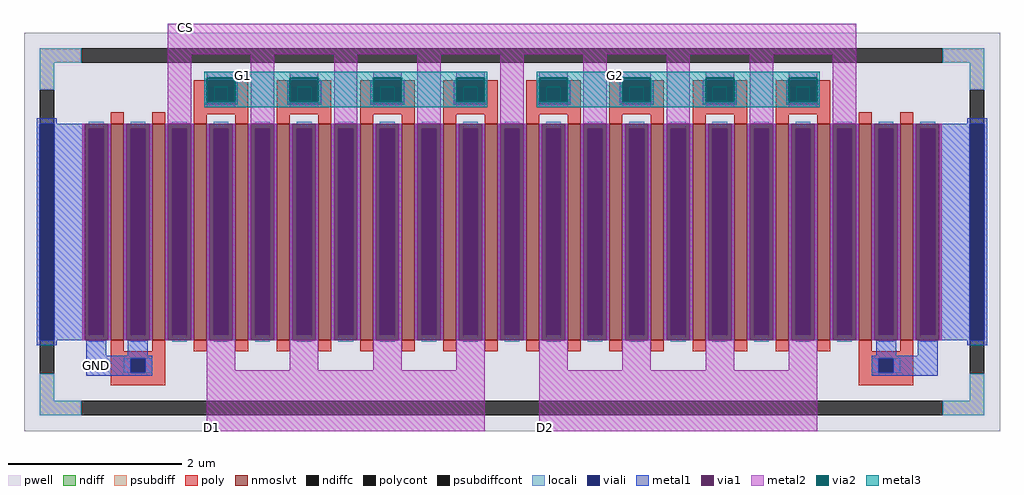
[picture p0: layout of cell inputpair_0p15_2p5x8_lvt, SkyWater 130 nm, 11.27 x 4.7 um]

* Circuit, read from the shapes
.subckt inputpair_0p15_2p5x8_lvt CS D1 D2 G1 G2 GND
XM1 GND GND GND GND sky130_fd_pr__nfet_01v8_lvt w=2.5 l=0.15 m=2
XM2 CS GND GND GND sky130_fd_pr__nfet_01v8_lvt w=2.5 l=0.15 m=2
XM3 D1 G1 CS GND sky130_fd_pr__nfet_01v8_lvt w=2.5 l=0.15 m=8
XM4 D2 G2 CS GND sky130_fd_pr__nfet_01v8_lvt w=2.5 l=0.15 m=8
.ends

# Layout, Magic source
magic
tech sky130A
<< pwell >>
rect -4007 2516 -2880 2976
<< nmoslvt >>
rect -3907 2621 -3892 2871
rect -3859 2621 -3844 2871
rect -3811 2621 -3796 2871
rect -3763 2621 -3748 2871
rect -3715 2621 -3700 2871
rect -3667 2621 -3652 2871
rect -3619 2621 -3604 2871
rect -3571 2621 -3556 2871
rect -3523 2621 -3508 2871
rect -3475 2621 -3460 2871
rect -3427 2621 -3412 2871
rect -3379 2621 -3364 2871
rect -3331 2621 -3316 2871
rect -3283 2621 -3268 2871
rect -3235 2621 -3220 2871
rect -3187 2621 -3172 2871
rect -3139 2621 -3124 2871
rect -3091 2621 -3076 2871
rect -3043 2621 -3028 2871
rect -2995 2621 -2980 2871
<< ndiff >>
rect -3938 2865 -3907 2871
rect -3938 2627 -3932 2865
rect -3915 2627 -3907 2865
rect -3938 2621 -3907 2627
rect -3892 2865 -3859 2871
rect -3892 2627 -3884 2865
rect -3867 2627 -3859 2865
rect -3892 2621 -3859 2627
rect -3844 2865 -3811 2871
rect -3844 2627 -3836 2865
rect -3819 2627 -3811 2865
rect -3844 2621 -3811 2627
rect -3796 2865 -3763 2871
rect -3796 2627 -3788 2865
rect -3771 2627 -3763 2865
rect -3796 2621 -3763 2627
rect -3748 2865 -3715 2871
rect -3748 2627 -3740 2865
rect -3723 2627 -3715 2865
rect -3748 2621 -3715 2627
rect -3700 2865 -3667 2871
rect -3700 2627 -3692 2865
rect -3675 2627 -3667 2865
rect -3700 2621 -3667 2627
rect -3652 2865 -3619 2871
rect -3652 2627 -3644 2865
rect -3627 2627 -3619 2865
rect -3652 2621 -3619 2627
rect -3604 2865 -3571 2871
rect -3604 2627 -3596 2865
rect -3579 2627 -3571 2865
rect -3604 2621 -3571 2627
rect -3556 2865 -3523 2871
rect -3556 2627 -3548 2865
rect -3531 2627 -3523 2865
rect -3556 2621 -3523 2627
rect -3508 2865 -3475 2871
rect -3508 2627 -3500 2865
rect -3483 2627 -3475 2865
rect -3508 2621 -3475 2627
rect -3460 2865 -3427 2871
rect -3460 2627 -3452 2865
rect -3435 2627 -3427 2865
rect -3460 2621 -3427 2627
rect -3412 2865 -3379 2871
rect -3412 2627 -3404 2865
rect -3387 2627 -3379 2865
rect -3412 2621 -3379 2627
rect -3364 2865 -3331 2871
rect -3364 2627 -3356 2865
rect -3339 2627 -3331 2865
rect -3364 2621 -3331 2627
rect -3316 2865 -3283 2871
rect -3316 2627 -3308 2865
rect -3291 2627 -3283 2865
rect -3316 2621 -3283 2627
rect -3268 2865 -3235 2871
rect -3268 2627 -3260 2865
rect -3243 2627 -3235 2865
rect -3268 2621 -3235 2627
rect -3220 2865 -3187 2871
rect -3220 2627 -3212 2865
rect -3195 2627 -3187 2865
rect -3220 2621 -3187 2627
rect -3172 2865 -3139 2871
rect -3172 2627 -3164 2865
rect -3147 2627 -3139 2865
rect -3172 2621 -3139 2627
rect -3124 2865 -3091 2871
rect -3124 2627 -3116 2865
rect -3099 2627 -3091 2865
rect -3124 2621 -3091 2627
rect -3076 2865 -3043 2871
rect -3076 2627 -3068 2865
rect -3051 2627 -3043 2865
rect -3076 2621 -3043 2627
rect -3028 2865 -2995 2871
rect -3028 2627 -3020 2865
rect -3003 2627 -2995 2865
rect -3028 2621 -2995 2627
rect -2980 2865 -2949 2871
rect -2980 2627 -2972 2865
rect -2955 2627 -2949 2865
rect -2980 2621 -2949 2627
<< ndiffc >>
rect -3932 2627 -3915 2865
rect -3884 2627 -3867 2865
rect -3836 2627 -3819 2865
rect -3788 2627 -3771 2865
rect -3740 2627 -3723 2865
rect -3692 2627 -3675 2865
rect -3644 2627 -3627 2865
rect -3596 2627 -3579 2865
rect -3548 2627 -3531 2865
rect -3500 2627 -3483 2865
rect -3452 2627 -3435 2865
rect -3404 2627 -3387 2865
rect -3356 2627 -3339 2865
rect -3308 2627 -3291 2865
rect -3260 2627 -3243 2865
rect -3212 2627 -3195 2865
rect -3164 2627 -3147 2865
rect -3116 2627 -3099 2865
rect -3068 2627 -3051 2865
rect -3020 2627 -3003 2865
rect -2972 2627 -2955 2865
<< psubdiff >>
rect -3989 2941 -3941 2958
rect -2946 2941 -2898 2958
rect -3989 2910 -3972 2941
rect -2915 2910 -2898 2941
rect -3989 2551 -3972 2582
rect -2915 2551 -2898 2582
rect -3989 2534 -3941 2551
rect -2946 2534 -2898 2551
<< psubdiffcont >>
rect -3941 2941 -2946 2958
rect -3989 2582 -3972 2910
rect -2915 2582 -2898 2910
rect -3941 2534 -2946 2551
<< poly >>
rect -3811 2913 -3748 2921
rect -3811 2896 -3788 2913
rect -3771 2896 -3748 2913
rect -3907 2871 -3892 2884
rect -3859 2871 -3844 2884
rect -3811 2882 -3748 2896
rect -3811 2871 -3796 2882
rect -3763 2871 -3748 2882
rect -3715 2913 -3652 2921
rect -3715 2896 -3692 2913
rect -3675 2896 -3652 2913
rect -3715 2882 -3652 2896
rect -3715 2871 -3700 2882
rect -3667 2871 -3652 2882
rect -3619 2913 -3556 2921
rect -3619 2896 -3596 2913
rect -3579 2896 -3556 2913
rect -3619 2882 -3556 2896
rect -3619 2871 -3604 2882
rect -3571 2871 -3556 2882
rect -3523 2913 -3460 2921
rect -3523 2896 -3500 2913
rect -3483 2896 -3460 2913
rect -3523 2882 -3460 2896
rect -3523 2871 -3508 2882
rect -3475 2871 -3460 2882
rect -3427 2913 -3364 2921
rect -3427 2896 -3404 2913
rect -3387 2896 -3364 2913
rect -3427 2882 -3364 2896
rect -3427 2871 -3412 2882
rect -3379 2871 -3364 2882
rect -3331 2913 -3268 2921
rect -3331 2896 -3308 2913
rect -3291 2896 -3268 2913
rect -3331 2882 -3268 2896
rect -3331 2871 -3316 2882
rect -3283 2871 -3268 2882
rect -3235 2913 -3172 2921
rect -3235 2896 -3212 2913
rect -3195 2896 -3172 2913
rect -3235 2882 -3172 2896
rect -3235 2871 -3220 2882
rect -3187 2871 -3172 2882
rect -3139 2913 -3076 2921
rect -3139 2896 -3116 2913
rect -3099 2896 -3076 2913
rect -3139 2882 -3076 2896
rect -3139 2871 -3124 2882
rect -3091 2871 -3076 2882
rect -3043 2871 -3028 2884
rect -2995 2871 -2980 2884
rect -3907 2608 -3892 2621
rect -3859 2608 -3844 2621
rect -3811 2608 -3796 2621
rect -3763 2608 -3748 2621
rect -3715 2608 -3700 2621
rect -3667 2608 -3652 2621
rect -3619 2608 -3604 2621
rect -3571 2608 -3556 2621
rect -3523 2608 -3508 2621
rect -3475 2608 -3460 2621
rect -3427 2608 -3412 2621
rect -3379 2608 -3364 2621
rect -3331 2608 -3316 2621
rect -3283 2608 -3268 2621
rect -3235 2608 -3220 2621
rect -3187 2608 -3172 2621
rect -3139 2608 -3124 2621
rect -3091 2608 -3076 2621
rect -3043 2608 -3028 2621
rect -2995 2608 -2980 2621
rect -3907 2600 -3844 2608
rect -3907 2583 -3884 2600
rect -3867 2583 -3844 2600
rect -3907 2569 -3844 2583
rect -3043 2600 -2980 2608
rect -3043 2583 -3020 2600
rect -3003 2583 -2980 2600
rect -3043 2569 -2980 2583
<< polycont >>
rect -3788 2896 -3771 2913
rect -3692 2896 -3675 2913
rect -3596 2896 -3579 2913
rect -3500 2896 -3483 2913
rect -3404 2896 -3387 2913
rect -3308 2896 -3291 2913
rect -3212 2896 -3195 2913
rect -3116 2896 -3099 2913
rect -3884 2583 -3867 2600
rect -3020 2583 -3003 2600
<< locali >>
rect -3989 2941 -3941 2958
rect -2946 2941 -2898 2958
rect -3989 2910 -3972 2941
rect -3796 2896 -3788 2913
rect -3771 2896 -3763 2913
rect -3700 2896 -3692 2913
rect -3675 2896 -3667 2913
rect -3604 2896 -3596 2913
rect -3579 2896 -3571 2913
rect -3508 2896 -3500 2913
rect -3483 2896 -3475 2913
rect -3412 2896 -3404 2913
rect -3387 2896 -3379 2913
rect -3316 2896 -3308 2913
rect -3291 2896 -3283 2913
rect -3220 2896 -3212 2913
rect -3195 2896 -3187 2913
rect -3124 2896 -3116 2913
rect -3099 2896 -3091 2913
rect -2915 2910 -2898 2941
rect -3932 2865 -3915 2873
rect -3932 2619 -3915 2627
rect -3884 2865 -3867 2873
rect -3884 2619 -3867 2627
rect -3836 2865 -3819 2873
rect -3836 2619 -3819 2627
rect -3788 2865 -3771 2873
rect -3788 2619 -3771 2627
rect -3740 2865 -3723 2873
rect -3740 2619 -3723 2627
rect -3692 2865 -3675 2873
rect -3692 2619 -3675 2627
rect -3644 2865 -3627 2873
rect -3644 2619 -3627 2627
rect -3596 2865 -3579 2873
rect -3596 2619 -3579 2627
rect -3548 2865 -3531 2873
rect -3548 2619 -3531 2627
rect -3500 2865 -3483 2873
rect -3500 2619 -3483 2627
rect -3452 2865 -3435 2873
rect -3452 2619 -3435 2627
rect -3404 2865 -3387 2873
rect -3404 2619 -3387 2627
rect -3356 2865 -3339 2873
rect -3356 2619 -3339 2627
rect -3308 2865 -3291 2873
rect -3308 2619 -3291 2627
rect -3260 2865 -3243 2873
rect -3260 2619 -3243 2627
rect -3212 2865 -3195 2873
rect -3212 2619 -3195 2627
rect -3164 2865 -3147 2873
rect -3164 2619 -3147 2627
rect -3116 2865 -3099 2873
rect -3116 2619 -3099 2627
rect -3068 2865 -3051 2873
rect -3068 2619 -3051 2627
rect -3020 2865 -3003 2873
rect -3020 2619 -3003 2627
rect -2972 2865 -2955 2873
rect -2972 2619 -2955 2627
rect -3892 2583 -3884 2600
rect -3867 2583 -3859 2600
rect -3028 2583 -3020 2600
rect -3003 2583 -2995 2600
rect -3989 2551 -3972 2582
rect -2915 2551 -2898 2582
rect -3989 2534 -3941 2551
rect -2946 2534 -2898 2551
<< viali >>
rect -3788 2896 -3771 2913
rect -3692 2896 -3675 2913
rect -3596 2896 -3579 2913
rect -3500 2896 -3483 2913
rect -3404 2896 -3387 2913
rect -3308 2896 -3291 2913
rect -3212 2896 -3195 2913
rect -3116 2896 -3099 2913
rect -3989 2621 -3972 2871
rect -3932 2627 -3915 2865
rect -3884 2627 -3867 2865
rect -3836 2627 -3819 2865
rect -3788 2627 -3771 2865
rect -3740 2627 -3723 2865
rect -3692 2627 -3675 2865
rect -3644 2627 -3627 2865
rect -3596 2627 -3579 2865
rect -3548 2627 -3531 2865
rect -3500 2627 -3483 2865
rect -3452 2627 -3435 2865
rect -3404 2627 -3387 2865
rect -3356 2627 -3339 2865
rect -3308 2627 -3291 2865
rect -3260 2627 -3243 2865
rect -3212 2627 -3195 2865
rect -3164 2627 -3147 2865
rect -3116 2627 -3099 2865
rect -3068 2627 -3051 2865
rect -3020 2627 -3003 2865
rect -2972 2627 -2955 2865
rect -2915 2621 -2898 2871
rect -3884 2583 -3867 2600
rect -3020 2583 -3003 2600
<< metal1 >>
rect -3799 2893 -3796 2921
rect -3763 2893 -3760 2921
rect -3703 2893 -3700 2921
rect -3667 2893 -3664 2921
rect -3607 2893 -3604 2921
rect -3571 2893 -3568 2921
rect -3511 2893 -3508 2921
rect -3475 2893 -3472 2921
rect -3415 2893 -3412 2921
rect -3379 2893 -3376 2921
rect -3319 2893 -3316 2921
rect -3283 2893 -3280 2921
rect -3223 2893 -3220 2921
rect -3187 2893 -3184 2921
rect -3127 2893 -3124 2921
rect -3091 2893 -3088 2921
rect -3992 2871 -3969 2877
rect -2918 2871 -2895 2877
rect -3992 2621 -3989 2871
rect -3972 2621 -3937 2871
rect -3910 2621 -3907 2871
rect -3892 2621 -3889 2871
rect -3862 2621 -3859 2871
rect -3844 2621 -3841 2871
rect -3814 2621 -3811 2871
rect -3796 2621 -3793 2871
rect -3766 2621 -3763 2871
rect -3748 2621 -3745 2871
rect -3718 2621 -3715 2871
rect -3700 2621 -3697 2871
rect -3670 2621 -3667 2871
rect -3652 2621 -3649 2871
rect -3622 2621 -3619 2871
rect -3604 2621 -3601 2871
rect -3574 2621 -3571 2871
rect -3556 2621 -3553 2871
rect -3526 2621 -3523 2871
rect -3508 2621 -3505 2871
rect -3478 2621 -3475 2871
rect -3460 2621 -3457 2871
rect -3430 2621 -3427 2871
rect -3412 2621 -3409 2871
rect -3382 2621 -3379 2871
rect -3364 2621 -3361 2871
rect -3334 2621 -3331 2871
rect -3316 2621 -3313 2871
rect -3286 2621 -3283 2871
rect -3268 2621 -3265 2871
rect -3238 2621 -3235 2871
rect -3220 2621 -3217 2871
rect -3190 2621 -3187 2871
rect -3172 2621 -3169 2871
rect -3142 2621 -3139 2871
rect -3124 2621 -3121 2871
rect -3094 2621 -3091 2871
rect -3076 2621 -3073 2871
rect -3046 2621 -3043 2871
rect -3028 2621 -3025 2871
rect -2998 2621 -2995 2871
rect -2980 2621 -2977 2871
rect -2950 2621 -2915 2871
rect -2898 2621 -2895 2871
rect -3992 2615 -3969 2621
rect -3935 2603 -3912 2621
rect -3887 2603 -3864 2621
rect -3023 2603 -3000 2621
rect -2975 2603 -2952 2621
rect -2918 2615 -2895 2621
rect -3935 2600 -3859 2603
rect -3935 2583 -3884 2600
rect -3867 2583 -3859 2600
rect -3935 2580 -3859 2583
rect -3028 2600 -2952 2603
rect -3028 2583 -3020 2600
rect -3003 2583 -2952 2600
rect -3028 2580 -2952 2583
<< via1 >>
rect -3796 2913 -3763 2921
rect -3796 2896 -3788 2913
rect -3788 2896 -3771 2913
rect -3771 2896 -3763 2913
rect -3796 2893 -3763 2896
rect -3700 2913 -3667 2921
rect -3700 2896 -3692 2913
rect -3692 2896 -3675 2913
rect -3675 2896 -3667 2913
rect -3700 2893 -3667 2896
rect -3604 2913 -3571 2921
rect -3604 2896 -3596 2913
rect -3596 2896 -3579 2913
rect -3579 2896 -3571 2913
rect -3604 2893 -3571 2896
rect -3508 2913 -3475 2921
rect -3508 2896 -3500 2913
rect -3500 2896 -3483 2913
rect -3483 2896 -3475 2913
rect -3508 2893 -3475 2896
rect -3412 2913 -3379 2921
rect -3412 2896 -3404 2913
rect -3404 2896 -3387 2913
rect -3387 2896 -3379 2913
rect -3412 2893 -3379 2896
rect -3316 2913 -3283 2921
rect -3316 2896 -3308 2913
rect -3308 2896 -3291 2913
rect -3291 2896 -3283 2913
rect -3316 2893 -3283 2896
rect -3220 2913 -3187 2921
rect -3220 2896 -3212 2913
rect -3212 2896 -3195 2913
rect -3195 2896 -3187 2913
rect -3220 2893 -3187 2896
rect -3124 2913 -3091 2921
rect -3124 2896 -3116 2913
rect -3116 2896 -3099 2913
rect -3099 2896 -3091 2913
rect -3124 2893 -3091 2896
rect -3937 2865 -3910 2871
rect -3937 2627 -3932 2865
rect -3932 2627 -3915 2865
rect -3915 2627 -3910 2865
rect -3937 2621 -3910 2627
rect -3889 2865 -3862 2871
rect -3889 2627 -3884 2865
rect -3884 2627 -3867 2865
rect -3867 2627 -3862 2865
rect -3889 2621 -3862 2627
rect -3841 2865 -3814 2871
rect -3841 2627 -3836 2865
rect -3836 2627 -3819 2865
rect -3819 2627 -3814 2865
rect -3841 2621 -3814 2627
rect -3793 2865 -3766 2871
rect -3793 2627 -3788 2865
rect -3788 2627 -3771 2865
rect -3771 2627 -3766 2865
rect -3793 2621 -3766 2627
rect -3745 2865 -3718 2871
rect -3745 2627 -3740 2865
rect -3740 2627 -3723 2865
rect -3723 2627 -3718 2865
rect -3745 2621 -3718 2627
rect -3697 2865 -3670 2871
rect -3697 2627 -3692 2865
rect -3692 2627 -3675 2865
rect -3675 2627 -3670 2865
rect -3697 2621 -3670 2627
rect -3649 2865 -3622 2871
rect -3649 2627 -3644 2865
rect -3644 2627 -3627 2865
rect -3627 2627 -3622 2865
rect -3649 2621 -3622 2627
rect -3601 2865 -3574 2871
rect -3601 2627 -3596 2865
rect -3596 2627 -3579 2865
rect -3579 2627 -3574 2865
rect -3601 2621 -3574 2627
rect -3553 2865 -3526 2871
rect -3553 2627 -3548 2865
rect -3548 2627 -3531 2865
rect -3531 2627 -3526 2865
rect -3553 2621 -3526 2627
rect -3505 2865 -3478 2871
rect -3505 2627 -3500 2865
rect -3500 2627 -3483 2865
rect -3483 2627 -3478 2865
rect -3505 2621 -3478 2627
rect -3457 2865 -3430 2871
rect -3457 2627 -3452 2865
rect -3452 2627 -3435 2865
rect -3435 2627 -3430 2865
rect -3457 2621 -3430 2627
rect -3409 2865 -3382 2871
rect -3409 2627 -3404 2865
rect -3404 2627 -3387 2865
rect -3387 2627 -3382 2865
rect -3409 2621 -3382 2627
rect -3361 2865 -3334 2871
rect -3361 2627 -3356 2865
rect -3356 2627 -3339 2865
rect -3339 2627 -3334 2865
rect -3361 2621 -3334 2627
rect -3313 2865 -3286 2871
rect -3313 2627 -3308 2865
rect -3308 2627 -3291 2865
rect -3291 2627 -3286 2865
rect -3313 2621 -3286 2627
rect -3265 2865 -3238 2871
rect -3265 2627 -3260 2865
rect -3260 2627 -3243 2865
rect -3243 2627 -3238 2865
rect -3265 2621 -3238 2627
rect -3217 2865 -3190 2871
rect -3217 2627 -3212 2865
rect -3212 2627 -3195 2865
rect -3195 2627 -3190 2865
rect -3217 2621 -3190 2627
rect -3169 2865 -3142 2871
rect -3169 2627 -3164 2865
rect -3164 2627 -3147 2865
rect -3147 2627 -3142 2865
rect -3169 2621 -3142 2627
rect -3121 2865 -3094 2871
rect -3121 2627 -3116 2865
rect -3116 2627 -3099 2865
rect -3099 2627 -3094 2865
rect -3121 2621 -3094 2627
rect -3073 2865 -3046 2871
rect -3073 2627 -3068 2865
rect -3068 2627 -3051 2865
rect -3051 2627 -3046 2865
rect -3073 2621 -3046 2627
rect -3025 2865 -2998 2871
rect -3025 2627 -3020 2865
rect -3020 2627 -3003 2865
rect -3003 2627 -2998 2865
rect -3025 2621 -2998 2627
rect -2977 2865 -2950 2871
rect -2977 2627 -2972 2865
rect -2972 2627 -2955 2865
rect -2955 2627 -2950 2865
rect -2977 2621 -2950 2627
<< metal2 >>
rect -3841 2951 -3046 2986
rect -3841 2871 -3814 2951
rect -3796 2924 -3763 2931
rect -3796 2890 -3763 2893
rect -3745 2871 -3718 2951
rect -3700 2924 -3667 2931
rect -3700 2890 -3667 2893
rect -3649 2871 -3622 2951
rect -3604 2924 -3571 2931
rect -3604 2890 -3571 2893
rect -3553 2871 -3526 2951
rect -3508 2924 -3475 2931
rect -3508 2890 -3475 2893
rect -3457 2871 -3430 2951
rect -3412 2924 -3379 2931
rect -3412 2890 -3379 2893
rect -3361 2871 -3334 2951
rect -3316 2924 -3283 2931
rect -3316 2890 -3283 2893
rect -3265 2871 -3238 2951
rect -3220 2924 -3187 2931
rect -3220 2890 -3187 2893
rect -3169 2871 -3142 2951
rect -3124 2924 -3091 2931
rect -3124 2890 -3091 2893
rect -3073 2871 -3046 2951
rect -3940 2621 -3937 2871
rect -3910 2621 -3907 2871
rect -3892 2621 -3889 2871
rect -3862 2621 -3859 2871
rect -3844 2621 -3841 2871
rect -3814 2621 -3811 2871
rect -3796 2621 -3793 2871
rect -3766 2621 -3763 2871
rect -3748 2621 -3745 2871
rect -3718 2621 -3715 2871
rect -3700 2621 -3697 2871
rect -3670 2621 -3667 2871
rect -3652 2621 -3649 2871
rect -3622 2621 -3619 2871
rect -3604 2621 -3601 2871
rect -3574 2621 -3571 2871
rect -3556 2621 -3553 2871
rect -3526 2621 -3523 2871
rect -3508 2621 -3505 2871
rect -3478 2621 -3475 2871
rect -3460 2621 -3457 2871
rect -3430 2621 -3427 2871
rect -3412 2621 -3409 2871
rect -3382 2621 -3379 2871
rect -3364 2621 -3361 2871
rect -3334 2621 -3331 2871
rect -3316 2621 -3313 2871
rect -3286 2621 -3283 2871
rect -3268 2621 -3265 2871
rect -3238 2621 -3235 2871
rect -3220 2621 -3217 2871
rect -3190 2621 -3187 2871
rect -3172 2621 -3169 2871
rect -3142 2621 -3139 2871
rect -3124 2621 -3121 2871
rect -3094 2621 -3091 2871
rect -3076 2621 -3073 2871
rect -3046 2621 -3043 2871
rect -3028 2621 -3025 2871
rect -2998 2621 -2995 2871
rect -2980 2621 -2977 2871
rect -2950 2621 -2947 2871
rect -3796 2586 -3763 2621
rect -3700 2586 -3667 2621
rect -3604 2586 -3571 2621
rect -3508 2586 -3475 2621
rect -3796 2516 -3475 2586
rect -3412 2586 -3379 2621
rect -3316 2586 -3283 2621
rect -3220 2586 -3187 2621
rect -3124 2586 -3091 2621
rect -3412 2516 -3091 2586
<< via2 >>
rect -3796 2921 -3763 2924
rect -3796 2896 -3763 2921
rect -3700 2921 -3667 2924
rect -3700 2896 -3667 2921
rect -3604 2921 -3571 2924
rect -3604 2896 -3571 2921
rect -3508 2921 -3475 2924
rect -3508 2896 -3475 2921
rect -3412 2921 -3379 2924
rect -3412 2896 -3379 2921
rect -3316 2921 -3283 2924
rect -3316 2896 -3283 2921
rect -3220 2921 -3187 2924
rect -3220 2896 -3187 2921
rect -3124 2921 -3091 2924
rect -3124 2896 -3091 2921
<< metal3 >>
rect -3799 2924 -3472 2931
rect -3799 2896 -3796 2924
rect -3763 2896 -3700 2924
rect -3667 2896 -3604 2924
rect -3571 2896 -3508 2924
rect -3475 2896 -3472 2924
rect -3799 2890 -3472 2896
rect -3415 2924 -3088 2931
rect -3415 2896 -3412 2924
rect -3379 2896 -3316 2924
rect -3283 2896 -3220 2924
rect -3187 2896 -3124 2924
rect -3091 2896 -3088 2924
rect -3415 2890 -3088 2896
<< labels >>
rlabel metal2 -3841 2977 -3800 2986 1 CS
rlabel metal3 -3761 2923 -3747 2931 1 G1
rlabel metal3 -3331 2923 -3317 2931 1 G2
rlabel metal2 -3796 2516 -3782 2524 1 D1
rlabel metal2 -3412 2516 -3398 2524 1 D2
rlabel metal1 -3935 2580 -3912 2603 1 GND
<< end >>
